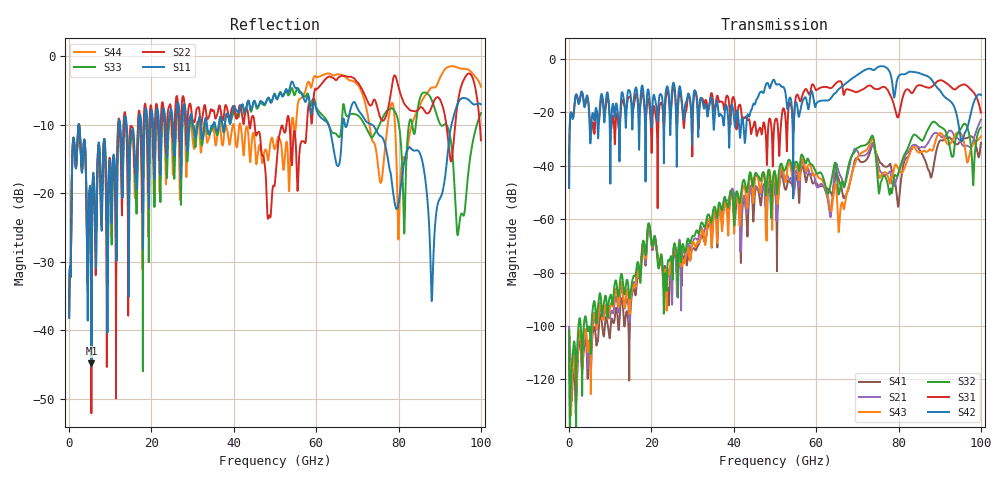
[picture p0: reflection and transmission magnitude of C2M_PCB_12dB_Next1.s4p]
! Info: Touchstone file created by Circ.  Input file=Intel_C2M_200G_1p5in_202204012_staggered.circ
# Hz S RI R 50
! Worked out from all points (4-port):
!   10000 points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, 10 MHz to 100 GHz, reference 50 ohm
!   strongest paths, dB at 10 MHz, 25.01 GHz, 50.01 GHz, 75.01 GHz, 100 GHz:
!     S42: -48.2, -11.6, -8.7, -3.1, -13.5
!     S31: -48.3, -13.9, -23.1, -11.3, -20.1
!     S32: -101.8, -77.5, -42.5, -46.6, -25.7
!     S43: -102.2, -75.3, -43.3, -41.8, -29.0
!     S21: -100.3, -91.7, -47.8, -39.3, -22.7
!     S41: -100.9, -79.8, -48.8, -37.0, -31.4
!   lowest |S11| = -44.8 dB at 5.44 GHz (marker M1), VSWR 1.01, Z = 49.5 - j0.345 ohm
!   |S11| at or under -10 dB: 2.451 GHz to 12.02 GHz (9.568 GHz wide, 132 % of centre); 63 GHz to 66.42 GHz (3.415 GHz wide, 5.28 % of centre); 73.62 GHz to 92.86 GHz (19.24 GHz wide, 23.1 % of centre) (the widest 3 of 20)
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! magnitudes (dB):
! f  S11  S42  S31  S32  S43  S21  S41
! 10 MHz  -38.2  -48.2  -48.3  -101.8  -102.2  -100.3  -100.9
! 5.44 GHz  -44.8  -24.3  -27.1  -99.7  -106.2  -106.9  -110.5
! 54.2 GHz  -3.7  -21.1  -20.8  -41.3  -44.3  -46.2  -47.3
! 73.53 GHz  -10.0  -4.0  -10.4  -28.8  -30.0  -31.7  -32.6
! 78.08 GHz  -17.0  -5.8  -13.9  -48.6  -44.7  -43.1  -39.8
! 88.13 GHz  -35.4  -8.0  -10.4  -23.9  -34.4  -28.8  -43.4
! 100 GHz  -7.0  -13.5  -20.1  -25.7  -29.0  -22.7  -31.4
